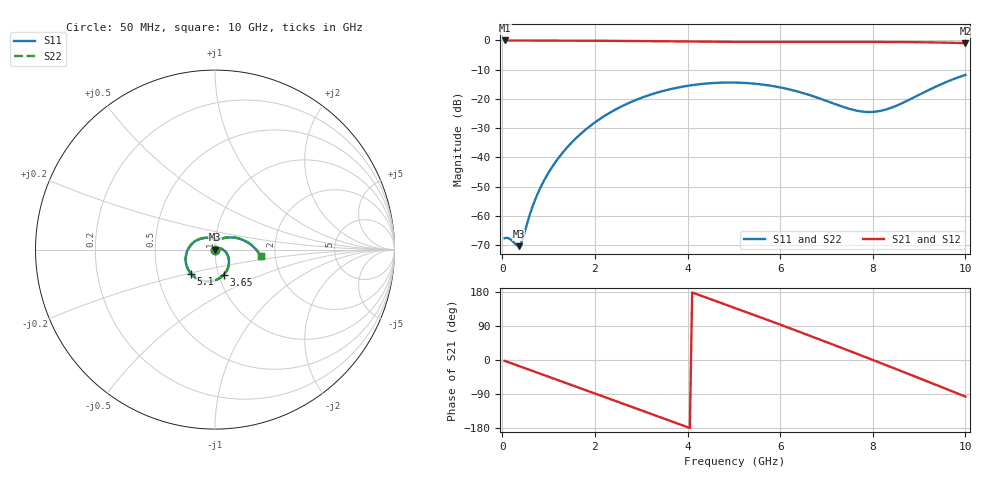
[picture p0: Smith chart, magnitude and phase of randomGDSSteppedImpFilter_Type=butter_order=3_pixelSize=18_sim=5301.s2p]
! freq	dB(S11)	phase(S11)	dB(S12)	phase(S12)
!  dB(S21)	phase(S21)	dB(S22)	phase(S22)
!S-par simulation data
#  GHz  S  DB  R 50
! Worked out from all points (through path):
!   200 points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, 50 MHz to 10 GHz, reference 50 ohm
!   highest |S21| = 0.00 dB at 50 MHz (marker M1); lowest = -0.9 dB at 10 GHz (marker M2)
!   group delay of S21, straight-line fit = 126 ps
!   lowest |S11| = -70.4 dB at 350 MHz (marker M3), VSWR 1.00, Z = 50 + j0.00669 ohm
!   |S11| at or under -10 dB: start of sweep to end of sweep
!   |S22| runs from -70.9 to -11.8 dB; largest |S21 - S12| = 0
!   S11 on the Smith chart (normalised r, x): 50 MHz: 1.00, +0.00; 3.65 GHz: 1.06, -0.30; 5.1 GHz: 0.74, -0.21; 10 GHz: 1.68, -0.13
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0.05  -67.71 12.1  -0.00 -2.2  -0.00 -2.2  -67.69 11.7
0.35  -70.42 12.8  -0.03 -15.5  -0.03 -15.5  -70.89 15.4
0.4  -69.67 31.4  -0.03 -17.7  -0.03 -17.7  -70.03 35.5
0.7  -54.90 63.8  -0.04 -30.9  -0.04 -30.9  -54.84 66.3
0.95  -46.57 53.8  -0.05 -41.9  -0.05 -41.9  -46.53 55.5
1.3  -38.48 36.8  -0.06 -57.4  -0.06 -57.4  -38.45 38.1
1.75  -31.18 15.5  -0.09 -77.3  -0.09 -77.3  -31.17 16.4
2.55  -22.77 -21.3  -0.15 -112.8  -0.15 -112.8  -22.77 -20.6
3.4  -17.60 -59.7  -0.27 -150.6  -0.27 -150.6  -17.60 -59.1
3.65  -16.60 -70.9  -0.31 -161.7  -0.31 -161.7  -16.60 -70.3
4.35  -14.83 -101.9  -0.41 167.2  -0.41 167.2  -14.83 -101.3
5.05  -14.43 -132.8  -0.48 136.1  -0.48 136.1  -14.43 -132.1
5.1  -14.45 -135.0  -0.49 133.9  -0.49 133.9  -14.45 -134.4
5.9  -15.78 -171.1  -0.50 97.9  -0.50 97.9  -15.78 -170.3
6.7  -19.03 150.8  -0.48 61.3  -0.48 61.3  -19.03 152.0
7.55  -23.65 105.1  -0.48 21.5  -0.48 21.5  -23.69 106.7
7.95  -24.50 82.5  -0.50 2.5  -0.50 2.5  -24.56 84.1
8.35  -23.31 62.6  -0.53 -16.5  -0.53 -16.5  -23.36 63.7
8.8  -20.20 43.3  -0.58 -38.2  -0.58 -38.2  -20.22 44.0
9.25  -16.65 24.6  -0.66 -60.0  -0.66 -60.0  -16.66 25.0
9.65  -13.82 7.4  -0.77 -79.5  -0.77 -79.5  -13.83 7.5
10  -11.80 -8.2  -0.91 -96.5  -0.91 -96.5  -11.80 -8.1
